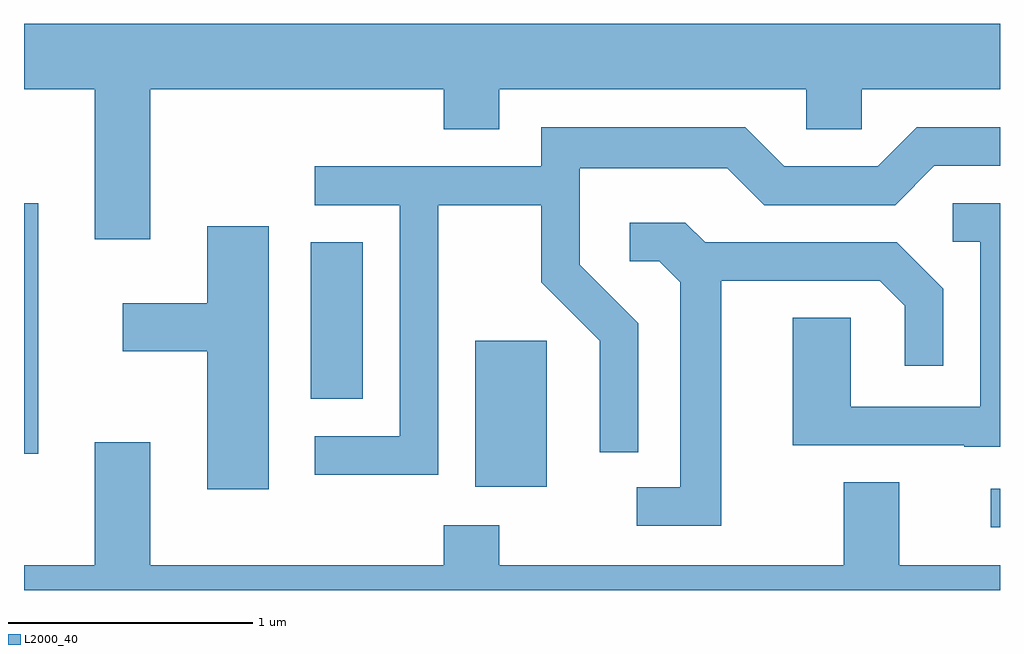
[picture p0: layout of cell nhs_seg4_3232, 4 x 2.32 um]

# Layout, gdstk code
import gdstk
lib = gdstk.Library(unit=1e-6, precision=1e-09)
def R(c, l, rs):  # rectangles x0, y0, x1, y1
    for r in rs: c.add(gdstk.rectangle(r[:2], r[2:], *l))
def P(c, l, *ps):  # polygons
    for p in ps: c.add(gdstk.Polygon(p, *l))
L2000_40 = (2000, 40)

nhs_seg4_3232 = lib.new_cell('nhs_seg4_3232')
R(nhs_seg4_3232, L2000_40, [(283.573,1326.241,283.611,1326.399), (281.461,1326.406,281.754,1327.004), (279.611,1326.541,279.669,1327.569), (280.786,1326.766,280.999,1327.409)])
P(nhs_seg4_3232, L2000_40, [(280.129,1328.036),(281.331,1328.036),(281.331,1327.871),(281.559,1327.871),(281.559,1328.036),(282.816,1328.036),(282.816,1327.871),(283.044,1327.871),(283.044,1328.036),(283.611,1328.036),(283.611,1328.304),(279.611,1328.304),(279.611,1328.036),(279.901,1328.036),(279.901,1327.421),(280.129,1327.421)],
  [(281.309,1327.561),(281.731,1327.561),(281.731,1327.244),(281.971,1327.004),(281.971,1326.548),(282.129,1326.548),(282.129,1327.077),(281.889,1327.317),(281.889,1327.711),(282.494,1327.711),(282.644,1327.561),(283.182,1327.561),(283.342,1327.721),(283.611,1327.721),(283.611,1327.879),(283.269,1327.879),(283.109,1327.719),(282.727,1327.719),(282.567,1327.879),(281.731,1327.879),(281.731,1327.719),(280.803,1327.719),(280.803,1327.561),(281.151,1327.561),(281.151,1326.614),(280.803,1326.614),(280.803,1326.456),(281.309,1326.456)],
  [(283.611,1327.569),(283.418,1327.569),(283.418,1327.411),(283.531,1327.411),(283.531,1326.734),(282.999,1326.734),(282.999,1327.099),(282.761,1327.099),(282.761,1326.576),(283.465,1326.576),(283.465,1326.571),(283.611,1326.571)],
  [(282.469,1327.251),(283.119,1327.251),(283.221,1327.149),(283.221,1326.903),(283.379,1326.903),(283.379,1327.217),(283.187,1327.409),(282.402,1327.409),(282.322,1327.489),(282.093,1327.489),(282.093,1327.331),(282.214,1327.331),(282.301,1327.244),(282.301,1326.404),(282.123,1326.404),(282.123,1326.246),(282.469,1326.246)],
  [(280.614,1327.474),(280.361,1327.474),(280.361,1327.159),(280.016,1327.159),(280.016,1326.961),(280.361,1326.961),(280.361,1326.396),(280.614,1326.396)],
  [(283.611,1326.084),(283.199,1326.084),(283.199,1326.424),(282.971,1326.424),(282.971,1326.084),(281.559,1326.084),(281.559,1326.249),(281.331,1326.249),(281.331,1326.084),(280.129,1326.084),(280.129,1326.589),(279.901,1326.589),(279.901,1326.084),(279.611,1326.084),(279.611,1325.982),(283.611,1325.982)])

lib.write_gds('nhs_seg4_3232.gds')
